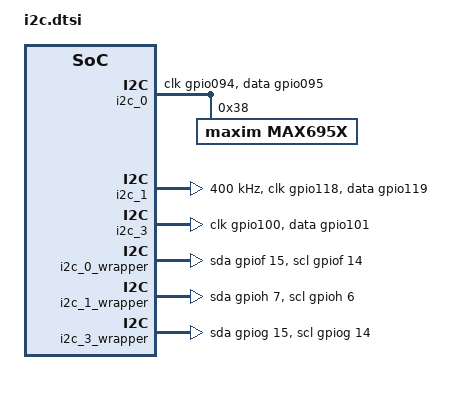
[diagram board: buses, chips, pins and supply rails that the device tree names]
/* Copyright 2025 The ChromiumOS Authors
 * Use of this source code is governed by a BSD-style license that can be
 * found in the LICENSE file.
 */

/ {
	named-i2c-ports {
		compatible = "named-i2c-ports";

		i2c_ec_i2c_charger: ec_i2c_charger {
			i2c-port = <&i2c_0>;
			enum-names = "I2C_PORT_BATTERY",
				"I2C_PORT_CHARGER",
				"I2C_PORT_PORT80";
		};
		i2c_ec_i2c_sensor: ec_i2c_sensor {
			i2c-port = <&i2c_1>;
			enum-names = "I2C_PORT_SENSOR";
		};
		i2c_ec_i2c_pdc: ec_i2c_pdc {
			i2c-port = <&i2c_3>;
			enum-names = "I2C_PORT_PD";
		};
	};
};

&i2c_0 {
	pinctrl-0 = <&i2c00_clk_gpio094
		     &i2c00_data_gpio095>;
	pinctrl-names = "default";
	status = "okay";

	max695x@38 {
		compatible = "maxim,max695x";
		reg = <0x38>;
	};
};

&i2c_1 {
	pinctrl-0 = <&i2c01_clk_gpio118
		     &i2c01_data_gpio119>;
	pinctrl-names = "default";
	status = "okay";

	label = "I2C_PORT_SENSOR";
	clock-frequency = <I2C_BITRATE_FAST>;
};

&i2c_3 {
	pinctrl-0 = <&i2c03_clk_gpio100
		     &i2c03_data_gpio101>;
	pinctrl-names = "default";
	status = "okay";
};

&i2c_0_wrapper {
	status = "okay";
	scl-gpios = <&gpiof 14 GPIO_ACTIVE_HIGH>;
	sda-gpios = <&gpiof 15 GPIO_ACTIVE_HIGH>;
};
&i2c_1_wrapper {
	status = "okay";
	scl-gpios = <&gpioh 6 GPIO_ACTIVE_HIGH>;
	sda-gpios = <&gpioh 7 GPIO_ACTIVE_HIGH>;
};
&i2c_3_wrapper {
	status = "okay";
	scl-gpios = <&gpiog 14 GPIO_ACTIVE_HIGH>;
	sda-gpios = <&gpiog 15 GPIO_ACTIVE_HIGH>;
};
